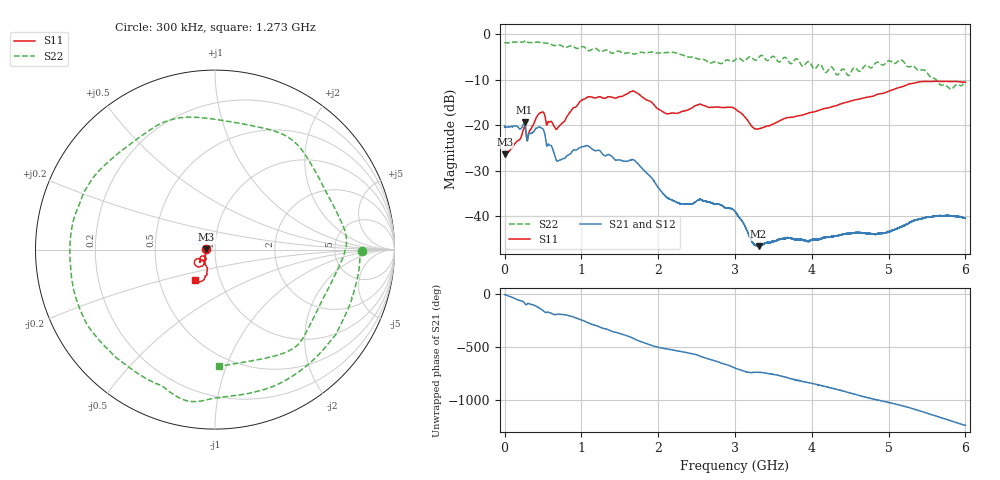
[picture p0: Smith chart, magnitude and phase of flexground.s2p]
!  8/12/2020  02:43:24
! Ref Plane: 0.000 mm
# MHZ S MA R  50
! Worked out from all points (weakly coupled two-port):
!   10001 points, 300 kHz to 6 GHz, reference 50 ohm
!   highest |S21| = -19.36 dB at 260.1 MHz (marker M1); lowest = -46.6 dB at 3.306 GHz (marker M2)
!   lowest |S11| = -26.4 dB at 900 kHz (marker M3), VSWR 1.10, Z = 45.4 + j0.117 ohm
!   |S11| at or under -10 dB: start of sweep to end of sweep
!   |S22| runs from -12.1 to -1.3 dB; largest |S21 - S12| = 0.0021
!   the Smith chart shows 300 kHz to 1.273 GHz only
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0.3  0.04839 177.3  0.09859 -1.2  0.09695 -1.1  0.8179 -0.5
0.9  0.04779 178.5  0.09459 -0.7  0.0957 -0.5  0.8108 -0.7
260.087  0.09681 -143.8  0.1076 -80.9  0.1075 -80.8  0.8412 -93.8
531.2735  0.1192 -153.1  0.07359 -171.0  0.0736 -170.8  0.804 166.8
746.6627  0.1049 -117.4  0.04233 170.6  0.04223 170.9  0.7459 98.7
1000.45  0.1874 -111.8  0.05746 118.0  0.05737 118.2  0.7306 8.7
1286.636  0.1986 -122.6  0.04723 37.3  0.04712 37.3  0.6589 -92.6
1512.824  0.2066 -121.1  0.04129 -14.5  0.0412 -14.3  0.6382 -169.2
1763.012  0.2151 -133.2  0.03546 -85.7  0.03542 -85.6  0.6345 98.3
2000.6  0.1508 -131.8  0.02058 -142.9  0.02055 -142.8  0.6216 19.5
2310.184  0.1419 -105.3  0.01363 175.1  0.01356 175.2  0.5949 -76.6
2587.971  0.1656 -103.0  0.01476 121.8  0.01472 121.9  0.5302 -174.1
2791.96  0.158 -97.9  0.01353 75.1  0.01349 75.0  0.4834 108.2
3000.15  0.1525 -101.2  0.01123 19.6  0.01117 19.9  0.5229 27.4
3306.135  0.09119 -78.4  0.004665 -20.7  0.004734 -20.2  0.5537 -74.1
3648.718  0.1185 -49.1  0.005676 -65.8  0.005662 -65.7  0.5587 -177.2
4000.3  0.1389 -32.7  0.005472 -126.0  0.005465 -125.0  0.4518 72.7
4412.479  0.1758 -18.6  0.0063 160.3  0.006314 160.1  0.4137 -80.8
4703.465  0.2025 -12.2  0.006494 101.5  0.006414 102.9  0.4572 170.0
5000.45  0.2366 -5.9  0.006714 52.8  0.006667 52.9  0.5133 78.9
5487.626  0.3035 -8.5  0.009719 -46.6  0.00967 -46.5  0.3921 -60.6
6000  0.2969 -12.2  0.009433 -166.6  0.0095 -166.3  0.3108 84.4
